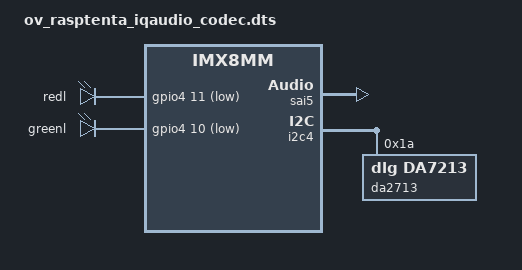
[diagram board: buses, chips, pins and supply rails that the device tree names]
/**
 * Portenta-X8 dtb overlay file
 * Arduino 2022
 * Rasp-Tenta support for
 * IQ Audio Codec Zero
 * Notes:
 * - CONFIG_SND_SOC_DA7213=m
 */

/dts-v1/;
/plugin/;

#include "imx8mm-pinfunc.h"
#include <dt-bindings/clock/imx8mm-clock.h>
#include <dt-bindings/gpio/gpio.h>

/ {
	compatible = "fsl,imx8mm-evk", "fsl,imx8mm";

	fragment@0 {
		target = <&iomuxc>;
		__overlay__ {
			imx8mm {
				pinctrl_sai5: sai5grp {
					fsl,pins = <
						MX8MM_IOMUXC_SAI5_RXD2_SAI5_TX_BCLK			0xd6
						MX8MM_IOMUXC_SAI5_RXD1_SAI5_TX_SYNC			0xd6
						MX8MM_IOMUXC_SAI5_RXD0_SAI5_RX_DATA0		0xd6
						MX8MM_IOMUXC_SAI5_RXD3_SAI5_TX_DATA0		0xd6
					>;
				};

				pinctrl_gpio_leds_da7213: gpioledsda7213grp {
					fsl,pins = <
						MX8MM_IOMUXC_SAI1_TXC_GPIO4_IO11		0x19
						MX8MM_IOMUXC_SAI1_TXFS_GPIO4_IO10		0x19
					>;
				};
			};
		};
	};

	fragment@1 {
		target = <&sai5>;
		__overlay__ {
			pinctrl-names = "default";
			pinctrl-0 = <&pinctrl_sai5>;
			assigned-clocks = <&clk IMX8MM_CLK_SAI5>;
			assigned-clock-parents = <&clk IMX8MM_AUDIO_PLL1_OUT>;
			assigned-clock-rates = <24000000>;
			#sound-dai-cells = <0>;
			fsl,shared-interrupt;
			status = "okay";
		};
	};

	fragment@2 {
		target-path = "/";
		__overlay__ {
			sound-da7213 {
				compatible = "simple-audio-card";
				simple-audio-card,name = "da7213-audio";
				simple-audio-card,format = "i2s";
				simple-audio-card,bitclock-master = <&dailink0_master>;
				simple-audio-card,frame-master = <&dailink0_master>;

				dailink0_master: simple-audio-card,cpu {
					sound-dai = <&sai5>;
					dai-tdm-slot-num = <2>;
					dai-tdm-slot-width = <32>;
				};

				 simple-audio-card,codec {
					sound-dai = <&da2713>;
				};
			};
		};
	};

	fragment@3 {
		target = <&i2c4>;
		__overlay__ {
			da2713: da2713@1a {
				#sound-dai-cells = <0>;
				compatible = "dlg,da7213";
				reg = <0x1a>;
				status = "okay";
			};
		};
	};

	fragment@4 {
		target-path = "/";
		__overlay__ {
			leds-da7213 {
				compatible = "gpio-leds";
				pinctrl-names = "default";
				pinctrl-0 = <&pinctrl_gpio_leds_da7213>;

				ledR {
					label = "redl";
					gpios = <&gpio4 11 GPIO_ACTIVE_LOW>;
					default-state = "off";
				};

				ledG {
					label = "greenl";
					gpios = <&gpio4 10 GPIO_ACTIVE_LOW>;
					default-state = "off";
				};
			};
		};
	};
};
